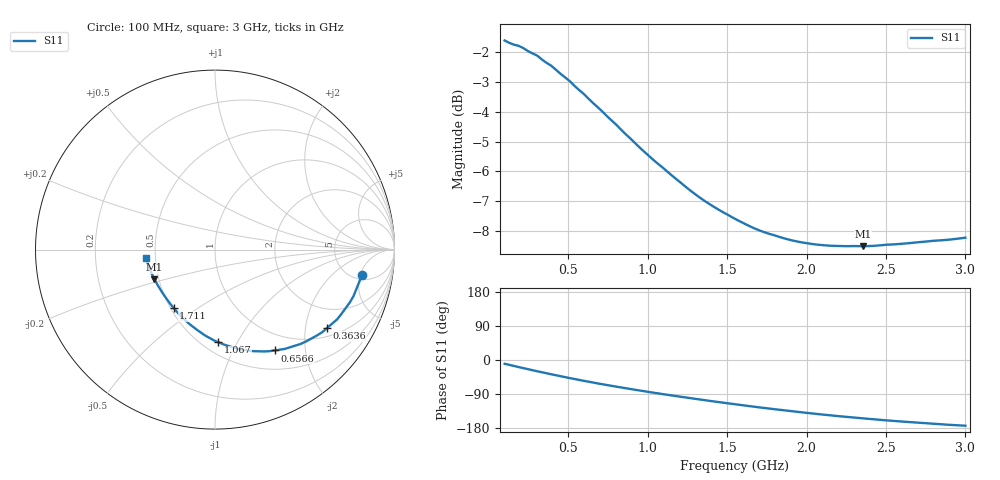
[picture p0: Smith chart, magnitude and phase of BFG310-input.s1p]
#Hz S ri R 50
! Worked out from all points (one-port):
!   100 points, 100 MHz to 3 GHz, reference 50 ohm
!   lowest |S11| = -8.5 dB at 2.356 GHz (marker M1), VSWR 2.20, Z = 23.7 - j9.08 ohm
!   |S11| at or under -10 dB: nowhere
!   S11 on the Smith chart (normalised r, x): 100 MHz: 5.76, -5.36; 363.6 MHz: 1.27, -2.64; 656.6 MHz: 0.75, -1.47; 1.067 GHz: 0.60, -0.84; 1.711 GHz: 0.52, -0.40; 3 GHz: 0.44, -0.05
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1e8  0.8184 -0.1442
1.87879e8  0.7715 -0.2594
2.17172e8  0.7514 -0.294
3.05051e8  0.6808 -0.3883
3.63636e8  0.625 -0.4363
3.92929e8  0.597 -0.4604
4.80808e8  0.5074 -0.5115
5.10101e8  0.4775 -0.5255
5.9798e8  0.3882 -0.5535
6.56566e8  0.3318 -0.5618
7.15152e8  0.2771 -0.5674
8.0303e8  0.2013 -0.5653
8.32323e8  0.1784 -0.5613
9.20202e8  0.1116 -0.548
1.00808e9  0.0518 -0.5295
1.06667e9  0.0167 -0.5153
1.21313e9  -0.0608 -0.4747
1.30101e9  -0.0997 -0.4475
1.38889e9  -0.1345 -0.4208
1.56465e9  -0.1918 -0.3682
1.71111e9  -0.2309 -0.3244
1.91616e9  -0.2733 -0.2689
2.09192e9  -0.3032 -0.224
2.29697e9  -0.3309 -0.1775
2.35556e9  -0.3372 -0.1648
2.64848e9  -0.3647 -0.1059
2.88283e9  -0.3794 -0.0628
3e9  -0.3852 -0.0446
